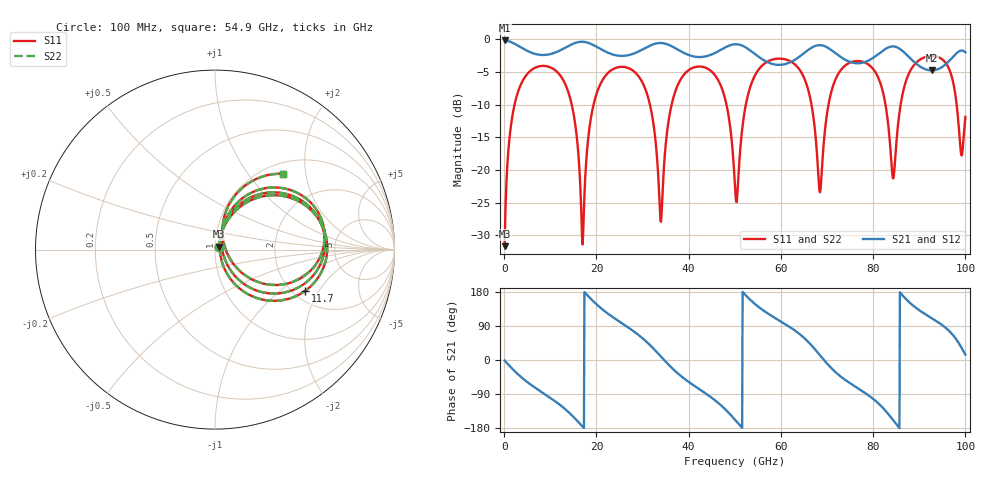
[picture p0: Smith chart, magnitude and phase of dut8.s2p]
! Touchstone file exported from HFSS 2026.1.0
!  File:  C:/ffzhzh/LocalFiles/Ansys_Project_Files/temp_train_TSV_RDL_8_1783436672_34316.aedt
!  Generated:  11:20:17 PM Jul  7, 2026
!  Design:  TSV_RDL
!  Project:  temp_train_TSV_RDL_8_1783436672_34316
! Variables:
!  h_bsmrdl = 4.7um
!  h_ox = 20um
!  h_rdl = 5um
!  h_sub = 74.81um
!  h_tmrdl = 2.5um
!  h_tsv = 74.81um
!  h_via = 3um
!  l_bsmrdl = 591.83um
!  l_sub = 3478.51um
!  l_tmrdl = 300.81um
!  m_sub = 200um
!  pitch = 55.8um
!  r_tsv = 7.35um
!  s_tmrdl = 10um
!  w_bsmrdl = 19.1um
!  w_sub = 500um
!  w_tmrdl = 14.16um
!  x_tsv_center1 = 307.89um
!  x_tsv_center2 = 918.82um
!  x_tsv_center3 = 1233.79um
!  x_tsv_center4 = 1844.72um
!  x_tsv_center5 = 2159.69um
!  x_tsv_center6 = 2770.62um
# GHz S MA R 50.000000
! Terminal data exported
! Port[1] = TM_RDL1_1_T1
! Port[2] = TM_RDL5_1_T1
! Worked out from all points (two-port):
!   1000 points, 100 MHz to 100 GHz, reference 50 ohm
!   highest |S21| = -0.18 dB at 100 MHz (marker M1); lowest = -4.8 dB at 92.7 GHz (marker M2)
!   |S21| within 3 dB of the highest: start of sweep to 56.24 GHz; 62.93 GHz to 74.06 GHz (11.13 GHz wide, 16.2 % of centre) (the widest 2 of 4)
!   lowest |S11| = -31.7 dB at 100 MHz (marker M3), VSWR 1.05, Z = 52.1 + j1.62 ohm
!   |S11| at or under -10 dB: 14.65 GHz to 19.39 GHz (4.74 GHz wide, 27.9 % of centre); 31.61 GHz to 36.31 GHz (4.705 GHz wide, 13.9 % of centre); 48.2 GHz to 52.4 GHz (4.206 GHz wide, 8.36 % of centre) (the widest 3 of 7)
!   |S22| runs from -31.7 to -2.6 dB; largest |S21 - S12| = 1e-13
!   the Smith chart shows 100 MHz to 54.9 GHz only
!   S11 on the Smith chart (normalised r, x): 100 MHz: 1.04, +0.03; 11.7 GHz: 2.31, -1.53; 54.9 GHz: 1.20, +1.50
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0.1  0.02607 36.6  0.9793 -1.4  0.9793 -1.4  0.02607 36.6
! Gamma 0 0 0 0
! Port Impedance 50 0 50 0
3.2  0.4138 46.5  0.8849 -40.0  0.8849 -40.0  0.4138 46.5
11.7  0.5526 -24.6  0.8086 -114.5  0.8086 -114.5  0.5526 -24.6
15.1  0.2627 -57.2  0.9289 -151.1  0.9289 -151.1  0.2626 -57.3
16.8  0.0392 -41.1  0.9572 -173.0  0.9572 -173.0  0.03897 -41.4
19.5  0.3284 57.8  0.8979 152.9  0.8979 152.9  0.3284 57.9
24.1  0.6018 17.1  0.7558 108.6  0.7558 108.6  0.6018 17.1
30.6  0.4164 -36.0  0.8576 51.0  0.8576 51.0  0.4165 -35.9
33.4  0.09071 -48.2  0.9347 16.9  0.9347 16.9  0.09108 -47.9
42.5  0.6185 10.5  0.7311 -78.5  0.7311 -78.5  0.6184 10.5
47.6  0.3821 -31.1  0.8537 -126.2  0.8537 -126.2  0.3822 -30.9
50.1  0.06953 -15.9  0.9162 -158.4  0.9162 -158.4  0.07066 -15.1
54.9  0.5683 48.1  0.7457 142.5  0.7457 142.5  0.5685 47.9
61.2  0.6979 3.0  0.6498 92.8  0.6498 92.8  0.6979 3.0
66.7  0.3059 -41.2  0.8638 37.8  0.8638 37.8  0.306 -41.2
68.5  0.06736 17.1  0.902 12.1  0.902 12.1  0.06806 17.0
73  0.5817 42.0  0.7304 -43.9  0.7304 -43.9  0.5819 41.8
83.4  0.2003 -31.3  0.8692 -144.3  0.8692 -144.3  0.1989 -32.5
84.5  0.09138 37.5  0.8809 -161.3  0.8809 -161.3  0.08687 38.3
87.7  0.5417 56.4  0.7349 153.9  0.7349 153.9  0.5409 56.8
92.7  0.7445 20.3  0.5778 110.4  0.5778 110.4  0.7442 20.5
100  0.2545 66.5  0.794 14.1  0.794 14.1  0.2562 66.1
